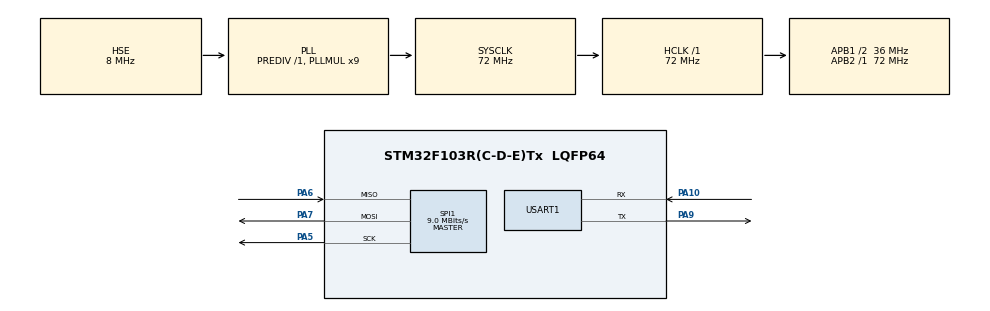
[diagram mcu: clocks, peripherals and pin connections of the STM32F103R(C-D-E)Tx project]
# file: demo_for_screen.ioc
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Mcu.Family=STM32F1
Mcu.Name=STM32F103R(C-D-E)Tx
Mcu.Package=LQFP64
NVIC.PriorityGroup=NVIC_PRIORITYGROUP_2
NVIC.TIM2_IRQn=true\:1\:0\:true\:false\:true\:true\:true\:true
NVIC.TIM3_IRQn=true\:1\:0\:true\:false\:true\:true\:true\:true
NVIC.USART1_IRQn=true\:0\:0\:false\:false\:true\:true\:true\:true
PA10.Mode=Asynchronous
PA10.Signal=USART1_RX
PA13.Mode=Serial_Wire
PA13.Signal=SYS_JTMS-SWDIO
PA14.Mode=Serial_Wire
PA14.Signal=SYS_JTCK-SWCLK
PA5.Mode=Full_Duplex_Master
PA5.Signal=SPI1_SCK
PA6.Mode=Full_Duplex_Master
PA6.Signal=SPI1_MISO
PA7.Mode=Full_Duplex_Master
PA7.Signal=SPI1_MOSI
PA9.Mode=Asynchronous
PA9.Signal=USART1_TX
PD0-OSC_IN.Mode=HSE-External-Oscillator
PD0-OSC_IN.Signal=RCC_OSC_IN
PD1-OSC_OUT.Mode=HSE-External-Oscillator
PD1-OSC_OUT.Signal=RCC_OSC_OUT
ProjectManager.HeapSize=0x200
ProjectManager.StackSize=0x400
ProjectManager.TargetToolchain=STM32CubeIDE
RCC.AHBFreq_Value=72000000
RCC.APB1CLKDivider=RCC_HCLK_DIV2
RCC.APB1Freq_Value=36000000
RCC.APB1TimFreq_Value=72000000
RCC.APB2Freq_Value=72000000
RCC.APB2TimFreq_Value=72000000
RCC.HCLKFreq_Value=72000000
RCC.PLLMUL=RCC_PLL_MUL9
RCC.PLLSourceVirtual=RCC_PLLSOURCE_HSE
RCC.SYSCLKFreq_VALUE=72000000
RCC.SYSCLKSource=RCC_SYSCLKSOURCE_PLLCLK
RCC.USBFreq_Value=72000000
SPI1.BaudRatePrescaler=SPI_BAUDRATEPRESCALER_8
SPI1.CalculateBaudRate=9.0 MBits/s
SPI1.Direction=SPI_DIRECTION_2LINES
SPI1.Mode=SPI_MODE_MASTER
SPI1.VirtualType=VM_MASTER
TIM2.Period=29999
TIM2.Prescaler=7199
TIM3.Period=49999
TIM3.Prescaler=7199
USART1.VirtualMode=VM_ASYNC
VP_TIM2_VS_ClockSourceINT.Mode=Internal
VP_TIM3_VS_ClockSourceINT.Mode=Internal
board=custom

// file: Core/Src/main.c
/* USER CODE BEGIN Header */
/**
  ******************************************************************************
  * @file           : main.c
  * @brief          : Main program body
  ******************************************************************************
  * @attention
  *
  * Copyright (c) 2022 STMicroelectronics.
  * All rights reserved.
  *
  * This software is licensed under terms that can be found in the LICENSE file
  * in the root directory of this software component.
  * If no LICENSE file comes with this software, it is provided AS-IS.
  *
  ******************************************************************************
  */
/* USER CODE END Header */
#include "main.h"

/* USER CODE BEGIN Includes */

/* Private includes ----------------------------------------------------------*/
/* USER CODE BEGIN Includes */
#include "sys.h"
#include "delay.h"
//#include "usart.h"
#include "led.h"
#include "key.h"
#include "lcd.h"
//#include "usmart.h"
#include "touch.h"
#include "24cxx.h"
#include "24l01.h" //通信驱动 基于spi进行通信
#include "string.h"
#include "roll_display.h"
//#include "remote.h" 红外遥控驱动
/* USER CODE END Includes */

/* USER CODE BEGIN PD */
#define MES_SIZE	10
unsigned char DATA_TO_SEND[800];
int state_num = 0;
volatile int hp=30;
volatile int mode1=0;
u8 STATE[30];

extern uint8_t rxBuffer[20];
UART_HandleTypeDef huart1;
/* USER CODE END PD */

/* USER CODE BEGIN PM */
//清空屏幕并在右上角显�??"RST"
void Load_Drow_Dialog(void)
{
	LCD_Clear(WHITE);//清屏
 	POINT_COLOR=BLUE;//设置字体为蓝�??
	//LCD_ShowString(lcddev.width-24,0,200,16,16,"RST");//显示清屏区域
  	POINT_COLOR=RED;//设置画笔蓝色
}
////////////////////////////////////////////////////////////////////////////////
//电容触摸屏专有部�??
//画水平线
//x0,y0:坐标
//len:线长�??
//color:颜色
void gui_draw_hline(u16 x0,u16 y0,u16 len,u16 color)
{
	if(len==0)return;
	LCD_Fill(x0,y0,x0+len-1,y0,color);
}
//画实心圆
//x0,y0:坐标
//r:半径
//color:颜色
void gui_fill_circle(u16 x0,u16 y0,u16 r,u16 color)
{
	u32 i;
	u32 imax = ((u32)r*707)/1000+1;
	u32 sqmax = (u32)r*(u32)r+(u32)r/2;
	u32 x=r;
	gui_draw_hline(x0-r,y0,2*r,color);
	for (i=1;i<=imax;i++)
	{
		if ((i*i+x*x)>sqmax)// draw lines from outside
		{
 			if (x>imax)
			{
				gui_draw_hline (x0-i+1,y0+x,2*(i-1),color);
				gui_draw_hline (x0-i+1,y0-x,2*(i-1),color);
			}
			x--;
		}
		// draw lines from inside (center)
		gui_draw_hline(x0-x,y0+i,2*x,color);
		gui_draw_hline(x0-x,y0-i,2*x,color);
	}
}
//两个数之差的绝对�??
//x1,x2：需取差值的两个�??
//返回值：|x1-x2|
u16 my_abs(u16 x1,u16 x2)
{
	if(x1>x2)return x1-x2;
	else return x2-x1;
}
//画一条粗�??
//(x1,y1),(x2,y2):线条的起始坐�??
//size：线条的粗细程度
//color：线条的颜色

void screen_print(){
	LCD_Clear(WHITE);//清屏
	POINT_COLOR=BLUE;//设置字体为蓝�?
	//LCD_ShowString(lcddev.width-24,0,200,16,16,"RST");//显示清屏区域
	LCD_ShowString(0,0,80,24,24, "Feed");
	LCD_ShowString(100,0,180,24,24, "Ignore");
	if (hp==30) LCD_ShowString(60,60,180,24,24, "HP: 30");
			else if (hp==29) LCD_ShowString(60,60,180,24,24, "HP: 29");
			else if (hp==28) LCD_ShowString(60,60,180,24,24, "HP: 28");
			else if (hp==27) LCD_ShowString(60,60,180,24,24, "HP: 27");
			else if (hp==26) LCD_ShowString(60,60,180,24,24, "HP: 26");
			else if (hp==25) LCD_ShowString(60,60,180,24,24, "HP: 25");
			else if (hp==24) LCD_ShowString(60,60,180,24,24, "HP: 24");
			else if (hp==23)	LCD_ShowString(60,60,180,24,24, "HP: 23");
			else if (hp==22)	LCD_ShowString(60,60,180,24,24, "HP: 22");
			else if (hp==21)	LCD_ShowString(60,60,180,24,24, "HP: 21");
			else if (hp==20) LCD_ShowString(60,60,180,24,24, "HP: 20");
			else if (hp==19) LCD_ShowString(60,60,180,24,24, "HP: 19");
				else if (hp==18) LCD_ShowString(60,60,180,24,24, "HP: 18");
				else if (hp==17) LCD_ShowString(60,60,180,24,24, "HP: 17");
				else if (hp==16) LCD_ShowString(60,60,180,24,24, "HP: 16");
				else if (hp==15) LCD_ShowString(60,60,180,24,24, "HP: 15");
				else if (hp==14) LCD_ShowString(60,60,180,24,24, "HP: 14");
				else if (hp==13)	LCD_ShowString(60,60,180,24,24, "HP: 13");
				else if (hp==12)	LCD_ShowString(60,60,180,24,24, "HP: 12");
				else if (hp==11)	LCD_ShowString(60,60,180,24,24, "HP: 11");
			else if (hp==10) LCD_ShowString(60,60,180,24,24, "HP: 10");
			else if (hp==9) LCD_ShowString(60,60,180,24,24, "HP: 09");
				else if (hp==8) LCD_ShowString(60,60,180,24,24, "HP: 08");
				else if (hp==7) LCD_ShowString(60,60,180,24,24, "HP: 07");
				else if (hp==6) LCD_ShowString(60,60,180,24,24, "HP: 06");
				else if (hp==5) LCD_ShowString(60,60,180,24,24, "HP: 05");
				else if (hp==4) LCD_ShowString(60,60,180,24,24, "HP: 04");
				else if (hp==3)	LCD_ShowString(60,60,180,24,24, "HP: 03");
				else if (hp==2)	LCD_ShowString(60,60,180,24,24, "HP: 02");
				else if (hp==1)	LCD_ShowString(60,60,180,24,24, "HP: 01");
			else if (hp==0)   LCD_ShowString(60,60,180,24,24, "HP: 00");
	LCD_ShowxNum(160,60,hp,24,24,1);
	//LCD_ShowString(60,120,200,24,24, "Change Light");
	LCD_ShowString(0,280,230,304,24, "                  ");
	LCD_ShowString(0, lcddev.height-24, 200, 16, 16, STATE);
	POINT_COLOR=RED;//设置画笔为红�?

}

void screen_norm_print(){
//	LCD_Clear(WHITE);//清屏
	POINT_COLOR=BLUE;//设置字体为蓝�?
	//LCD_ShowString(lcddev.width-24,0,200,16,16,"RST");//显示清屏区域
	LCD_ShowString(0,0,80,24,24, "Feed");
	LCD_ShowString(100,0,180,24,24, "Ignore");
	if (hp==30) LCD_ShowString(60,60,180,24,24, "HP: 30");
	else if (hp==29) LCD_ShowString(60,60,180,24,24, "HP: 29");
	else if (hp==28) LCD_ShowString(60,60,180,24,24, "HP: 28");
	else if (hp==27) LCD_ShowString(60,60,180,24,24, "HP: 27");
	else if (hp==26) LCD_ShowString(60,60,180,24,24, "HP: 26");
	else if (hp==25) LCD_ShowString(60,60,180,24,24, "HP: 25");
	else if (hp==24) LCD_ShowString(60,60,180,24,24, "HP: 24");
	else if (hp==23)	LCD_ShowString(60,60,180,24,24, "HP: 23");
	else if (hp==22)	LCD_ShowString(60,60,180,24,24, "HP: 22");
	else if (hp==21)	LCD_ShowString(60,60,180,24,24, "HP: 21");
	else if (hp==20) LCD_ShowString(60,60,180,24,24, "HP: 20");
	else if (hp==19) LCD_ShowString(60,60,180,24,24, "HP: 19");
		else if (hp==18) LCD_ShowString(60,60,180,24,24, "HP: 18");
		else if (hp==17) LCD_ShowString(60,60,180,24,24, "HP: 17");
		else if (hp==16) LCD_ShowString(60,60,180,24,24, "HP: 16");
		else if (hp==15) LCD_ShowString(60,60,180,24,24, "HP: 15");
		else if (hp==14) LCD_ShowString(60,60,180,24,24, "HP: 14");
		else if (hp==13)	LCD_ShowString(60,60,180,24,24, "HP: 13");
		else if (hp==12)	LCD_ShowString(60,60,180,24,24, "HP: 12");
		else if (hp==11)	LCD_ShowString(60,60,180,24,24, "HP: 11");
	else if (hp==10) LCD_ShowString(60,60,180,24,24, "HP: 10");
	else if (hp==9) LCD_ShowString(60,60,180,24,24, "HP: 09");
		else if (hp==8) LCD_ShowString(60,60,180,24,24, "HP: 08");
		else if (hp==7) LCD_ShowString(60,60,180,24,24, "HP: 07");
		else if (hp==6) LCD_ShowString(60,60,180,24,24, "HP: 06");
		else if (hp==5) LCD_ShowString(60,60,180,24,24, "HP: 05");
		else if (hp==4) LCD_ShowString(60,60,180,24,24, "HP: 04");
		else if (hp==3)	LCD_ShowString(60,60,180,24,24, "HP: 03");
		else if (hp==2)	LCD_ShowString(60,60,180,24,24, "HP: 02");
		else if (hp==1)	LCD_ShowString(60,60,180,24,24, "HP: 01");
	else if (hp==0)   LCD_ShowString(60,60,180,24,24, "HP: 00");
	//LCD_ShowString(60,120,200,24,24, "Change Light");
	LCD_ShowString(0,280,230,304,24, "                  ");
	LCD_ShowString(0, lcddev.height-24, 200, 16, 16, STATE);
	POINT_COLOR=RED;//设置画笔为红�?

}

void screen_ignore_print(){
//	LCD_Clear(WHITE);//清屏
	POINT_COLOR=BLUE;//设置字体为蓝�?
	//LCD_ShowString(lcddev.width-24,0,200,16,16,"RST");//显示清屏区域
	LCD_ShowString(0,0,80,24,24, "Feed");
	LCD_ShowString(100,0,180,24,24, "Ignore");
	if (hp==30) LCD_ShowString(60,60,180,24,24, "HP: 30");
		else if (hp==29) LCD_ShowString(60,60,180,24,24, "HP: 29");
		else if (hp==28) LCD_ShowString(60,60,180,24,24, "HP: 28");
		else if (hp==27) LCD_ShowString(60,60,180,24,24, "HP: 27");
		else if (hp==26) LCD_ShowString(60,60,180,24,24, "HP: 26");
		else if (hp==25) LCD_ShowString(60,60,180,24,24, "HP: 25");
		else if (hp==24) LCD_ShowString(60,60,180,24,24, "HP: 24");
		else if (hp==23)	LCD_ShowString(60,60,180,24,24, "HP: 23");
		else if (hp==22)	LCD_ShowString(60,60,180,24,24, "HP: 22");
		else if (hp==21)	LCD_ShowString(60,60,180,24,24, "HP: 21");
		else if (hp==20) LCD_ShowString(60,60,180,24,24, "HP: 20");
		else if (hp==19) LCD_ShowString(60,60,180,24,24, "HP: 19");
			else if (hp==18) LCD_ShowString(60,60,180,24,24, "HP: 18");
			else if (hp==17) LCD_ShowString(60,60,180,24,24, "HP: 17");
			else if (hp==16) LCD_ShowString(60,60,180,24,24, "HP: 16");
			else if (hp==15) LCD_ShowString(60,60,180,24,24, "HP: 15");
			else if (hp==14) LCD_ShowString(60,60,180,24,24, "HP: 14");
			else if (hp==13)	LCD_ShowString(60,60,180,24,24, "HP: 13");
			else if (hp==12)	LCD_ShowString(60,60,180,24,24, "HP: 12");
			else if (hp==11)	LCD_ShowString(60,60,180,24,24, "HP: 11");
		else if (hp==10) LCD_ShowString(60,60,180,24,24, "HP: 10");
		else if (hp==9) LCD_ShowString(60,60,180,24,24, "HP: 09");
			else if (hp==8) LCD_ShowString(60,60,180,24,24, "HP: 08");
			else if (hp==7) LCD_ShowString(60,60,180,24,24, "HP: 07");
			else if (hp==6) LCD_ShowString(60,60,180,24,24, "HP: 06");
			else if (hp==5) LCD_ShowString(60,60,180,24,24, "HP: 05");
			else if (hp==4) LCD_ShowString(60,60,180,24,24, "HP: 04");
			else if (hp==3)	LCD_ShowString(60,60,180,24,24, "HP: 03");
			else if (hp==2)	LCD_ShowString(60,60,180,24,24, "HP: 02");
			else if (hp==1)	LCD_ShowString(60,60,180,24,24, "HP: 01");
		else if (hp==0)   LCD_ShowString(60,60,180,24,24, "HP: 00");
	//LCD_ShowString(60,120,200,24,24, "Change Light");
	LCD_ShowString(0,280,230,304,24, "Ignore the request");
	LCD_ShowString(0, lcddev.height-24, 200, 16, 16, STATE);
	POINT_COLOR=RED;//设置画笔为红�?

}
void change_state(){
	if(state_num == 0){
		state_num = 1;
		sprintf(STATE, "STATE: ON ");
	}else{
		state_num = 0;
		sprintf(STATE, "STATE: OFF");
	}
}

void lcd_draw_bline(u16 x1, u16 y1, u16 x2, u16 y2,u8 size,u16 color)
{
	u16 t;
	int xerr=0,yerr=0,delta_x,delta_y,distance;
	int incx,incy,uRow,uCol;
	if(x1<size|| x2<size||y1<size|| y2<size)return;
	delta_x=x2-x1; //计算坐标增量
	delta_y=y2-y1;
	uRow=x1;
	uCol=y1;
	if(delta_x>0)incx=1; //设置单步方向
	else if(delta_x==0)incx=0;//垂直�??
	else {incx=-1;delta_x=-delta_x;}
	if(delta_y>0)incy=1;
	else if(delta_y==0)incy=0;//水平�??
	else{incy=-1;delta_y=-delta_y;}
	if( delta_x>delta_y)distance=delta_x; //选取基本增量坐标�??
	else distance=delta_y;
	for(t=0;t<=distance+1;t++ )//画线输出
	{
		gui_fill_circle(uRow,uCol,size,color);//画点
		xerr+=delta_x ;
		yerr+=delta_y ;
		if(xerr>distance)
		{
			xerr-=distance;
			uRow+=incx;
		}
		if(yerr>distance)
		{
			yerr-=distance;
			uCol+=incy;
		}
	}
}
////////////////////////////////////////////////////////////////////////////////
//5个触控点的颜�??(电容触摸屏用)
const u16 POINT_COLOR_TBL[5]={RED,GREEN,BLUE,BROWN,GRED};
//电阻触摸屏测试函�??

/* USER CODE END PM */

SPI_HandleTypeDef hspi1;

TIM_HandleTypeDef htim2;
TIM_HandleTypeDef htim3;

UART_HandleTypeDef huart1;

void SystemClock_Config(void);
static void MX_GPIO_Init(void);
static void MX_SPI1_Init(void);
static void MX_USART1_UART_Init(void);
static void MX_TIM2_Init(void);
static void MX_TIM3_Init(void);

/* USER CODE BEGIN 0 */
_ttywrch(int ch)        //为了避免malloc的定义错误  半主机错误
{
}

uint8_t n,line=50;     //line 第几行;s
/* USER CODE END 0 */

int main(void)
{

  /* MCU Configuration--------------------------------------------------------*/

  /* Reset of all peripherals, Initializes the Flash interface and the Systick. */
  HAL_Init();

  /* USER CODE BEGIN Init */
  Stm32_Clock_Init(RCC_PLL_MUL9);   	//设置时钟,72M
	delay_init(72);               		//初始化延时函�??
//	uart_init(115200);					//初始化串�??
//	usmart_dev.init(84); 		  	  	//初始化USMART
	LED_Init();							//初始化LED
	KEY_Init();							//初始化按�??
	LCD_Init();							//初始化LCD
	tp_dev.init();				   		//触摸屏初始化
  /* USER CODE END Init */

  /* Configure the system clock */
  SystemClock_Config();

  /* Initialize all configured peripherals */
  MX_GPIO_Init();
  MX_SPI1_Init();
  MX_USART1_UART_Init();
  MX_TIM2_Init();
  MX_TIM3_Init();
  /* USER CODE BEGIN 2 */
  POINT_COLOR=RED;
  	LCD_ShowString(30,50,200,16,16,"Mini STM32");
  	LCD_ShowString(30,70,200,16,16,"TOUCH TEST");
  	LCD_ShowString(30,90,200,16,16,"ATOM@ALIENTEK");
  	LCD_ShowString(30,110,200,16,16,"2019/11/15");
     	if(tp_dev.touchtype!=0XFF)
  	{
  		LCD_ShowString(30,130,200,16,16,"Press KEY0 to Adjust");//电阻屏才显示
  	}
  	delay_ms(1500);
   	Load_Drow_Dialog();
    //HAL_TIM_Base_Start_IT(&htim3);
  	//if(tp_dev.touchtype&0X80)ctp_test();//电容�?
  	//else
   	HAL_UART_Receive_IT(&huart1,(uint8_t *)rxBuffer,1);

   	rtp_test(); //电阻�?
  /* USER CODE END 2 */

  /* Infinite loop */

}

void SystemClock_Config(void)
{
  RCC_OscInitTypeDef RCC_OscInitStruct = {0};
  RCC_ClkInitTypeDef RCC_ClkInitStruct = {0};

  /** Initializes the RCC Oscillators according to the specified parameters
  * in the RCC_OscInitTypeDef structure.
  */
  RCC_OscInitStruct.OscillatorType = RCC_OSCILLATORTYPE_HSE;
  RCC_OscInitStruct.HSEState = RCC_HSE_ON;
  RCC_OscInitStruct.HSEPredivValue = RCC_HSE_PREDIV_DIV1;
  RCC_OscInitStruct.HSIState = RCC_HSI_ON;
  RCC_OscInitStruct.PLL.PLLState = RCC_PLL_ON;
  RCC_OscInitStruct.PLL.PLLSource = RCC_PLLSOURCE_HSE;
  RCC_OscInitStruct.PLL.PLLMUL = RCC_PLL_MUL9;
  if (HAL_RCC_OscConfig(&RCC_OscInitStruct) != HAL_OK)
  {
    Error_Handler();
  }

  /** Initializes the CPU, AHB and APB buses clocks
  */
  RCC_ClkInitStruct.ClockType = RCC_CLOCKTYPE_HCLK|RCC_CLOCKTYPE_SYSCLK
                              |RCC_CLOCKTYPE_PCLK1|RCC_CLOCKTYPE_PCLK2;
  RCC_ClkInitStruct.SYSCLKSource = RCC_SYSCLKSOURCE_PLLCLK;
  RCC_ClkInitStruct.AHBCLKDivider = RCC_SYSCLK_DIV1;
  RCC_ClkInitStruct.APB1CLKDivider = RCC_HCLK_DIV2;
  RCC_ClkInitStruct.APB2CLKDivider = RCC_HCLK_DIV1;

  if (HAL_RCC_ClockConfig(&RCC_ClkInitStruct, FLASH_LATENCY_2) != HAL_OK)
  {
    Error_Handler();
  }
}

static void MX_SPI1_Init(void)
{

  /* SPI1 parameter configuration*/
  hspi1.Instance = SPI1;
  hspi1.Init.Mode = SPI_MODE_MASTER;
  hspi1.Init.Direction = SPI_DIRECTION_2LINES;
  hspi1.Init.DataSize = SPI_DATASIZE_8BIT;
  hspi1.Init.CLKPolarity = SPI_POLARITY_LOW;
  hspi1.Init.CLKPhase = SPI_PHASE_1EDGE;
  hspi1.Init.NSS = SPI_NSS_SOFT;
  hspi1.Init.BaudRatePrescaler = SPI_BAUDRATEPRESCALER_8;
  hspi1.Init.FirstBit = SPI_FIRSTBIT_MSB;
  hspi1.Init.TIMode = SPI_TIMODE_DISABLE;
  hspi1.Init.CRCCalculation = SPI_CRCCALCULATION_DISABLE;
  hspi1.Init.CRCPolynomial = 10;
  if (HAL_SPI_Init(&hspi1) != HAL_OK)
  {
    Error_Handler();
  }

}

static void MX_TIM2_Init(void)
{

  TIM_ClockConfigTypeDef sClockSourceConfig = {0};
  TIM_MasterConfigTypeDef sMasterConfig = {0};

  htim2.Instance = TIM2;
  htim2.Init.Prescaler = 7199;
  htim2.Init.CounterMode = TIM_COUNTERMODE_UP;
  htim2.Init.Period = 29999;
  htim2.Init.ClockDivision = TIM_CLOCKDIVISION_DIV1;
  htim2.Init.AutoReloadPreload = TIM_AUTORELOAD_PRELOAD_DISABLE;
  if (HAL_TIM_Base_Init(&htim2) != HAL_OK)
  {
    Error_Handler();
  }
  sClockSourceConfig.ClockSource = TIM_CLOCKSOURCE_INTERNAL;
  if (HAL_TIM_ConfigClockSource(&htim2, &sClockSourceConfig) != HAL_OK)
  {
    Error_Handler();
  }
  sMasterConfig.MasterOutputTrigger = TIM_TRGO_RESET;
  sMasterConfig.MasterSlaveMode = TIM_MASTERSLAVEMODE_DISABLE;
  if (HAL_TIMEx_MasterConfigSynchronization(&htim2, &sMasterConfig) != HAL_OK)
  {
    Error_Handler();
  }

}

static void MX_TIM3_Init(void)
{

  TIM_ClockConfigTypeDef sClockSourceConfig = {0};
  TIM_MasterConfigTypeDef sMasterConfig = {0};

  htim3.Instance = TIM3;
  htim3.Init.Prescaler = 7199;
  htim3.Init.CounterMode = TIM_COUNTERMODE_UP;
  htim3.Init.Period = 49999;
  htim3.Init.ClockDivision = TIM_CLOCKDIVISION_DIV1;
  htim3.Init.AutoReloadPreload = TIM_AUTORELOAD_PRELOAD_DISABLE;
  if (HAL_TIM_Base_Init(&htim3) != HAL_OK)
  {
    Error_Handler();
  }
  sClockSourceConfig.ClockSource = TIM_CLOCKSOURCE_INTERNAL;
  if (HAL_TIM_ConfigClockSource(&htim3, &sClockSourceConfig) != HAL_OK)
  {
    Error_Handler();
  }
  sMasterConfig.MasterOutputTrigger = TIM_TRGO_RESET;
  sMasterConfig.MasterSlaveMode = TIM_MASTERSLAVEMODE_DISABLE;
  if (HAL_TIMEx_MasterConfigSynchronization(&htim3, &sMasterConfig) != HAL_OK)
  {
    Error_Handler();
  }

}

static void MX_USART1_UART_Init(void)
{

  huart1.Instance = USART1;
  huart1.Init.BaudRate = 115200;
  huart1.Init.WordLength = UART_WORDLENGTH_8B;
  huart1.Init.StopBits = UART_STOPBITS_1;
  huart1.Init.Parity = UART_PARITY_NONE;
  huart1.Init.Mode = UART_MODE_TX_RX;
  huart1.Init.HwFlowCtl = UART_HWCONTROL_NONE;
  huart1.Init.OverSampling = UART_OVERSAMPLING_16;
  if (HAL_UART_Init(&huart1) != HAL_OK)
  {
    Error_Handler();
  }

}

static void MX_GPIO_Init(void)
{

  /* GPIO Ports Clock Enable */
  __HAL_RCC_GPIOD_CLK_ENABLE();
  __HAL_RCC_GPIOA_CLK_ENABLE();

}

/* USER CODE BEGIN 4 */
void rtp_test(void)
{
	LCD_ShowImage2(80,80);
    int f=0;
    int check=0;
    int times=0;
	u8 key;
	u8 i=0;
	uint8_t len;
		Linkedlist *head = creatList(MES_SIZE-1); 		//创建一个有10个节点的链表
		Linkedlist *temp = closeList(head);				//闭合该链表,并返回末尾指针
		//LCD_ShowString(50,10,210,24,16,"Rolling Data:");
		//int USART_RX_STA=1;
	while(1)
	{

		if (mode1==0){
			f=0;
			check=0;
			 HAL_TIM_Base_Stop_IT(&htim2);
			__HAL_TIM_SetCounter(&htim2, 0);
		  HAL_TIM_Base_Start_IT(&htim3);
		//LCD_ShowImage2(40,80);
		LCD_ShowString(40,250,180,294,24, "I am hungry");
	 	key=KEY_Scan(0);
		tp_dev.scan(0);
		screen_norm_print();
		if(tp_dev.sta&TP_PRES_DOWN)			//触摸屏被按下
		{
		 	if(tp_dev.x[0]<lcddev.width&&tp_dev.y[0]<lcddev.height)
			{
				if(tp_dev.x[0]>(lcddev.width-24)&&tp_dev.y[0]<16){
					 HAL_TIM_Base_Stop_IT(&htim3);
					 hp=30;
					 __HAL_TIM_SetCounter(&htim3, 0);
					 HAL_TIM_Base_Start_IT(&htim3);
					screen_print();//清除
					LCD_ShowImage2(80,80);
					times=0;
				}
				else if(tp_dev.x[0]<80&&tp_dev.y[0]<24){
					change_state();
					 HAL_TIM_Base_Stop_IT(&htim3);
					__HAL_TIM_SetCounter(&htim3, 0);
                          mode1=2;
				}
				else if (tp_dev.x[0]>100&&tp_dev.y[0]>0&&tp_dev.x[0]<180&&tp_dev.y[0]<24){
					change_state();
					if (hp>10){
						hp=hp-10;mode1=1;
					}
					else{
						hp=0; mode1=3;
					}

				}
				else if(tp_dev.x[0]>60&&tp_dev.y[0]>60&&tp_dev.x[0]<180&&tp_dev.y[0]<100){
					sprintf(DATA_TO_SEND, "SEND DATA");
					HAL_UART_Transmit(&huart1, (uint8_t*)DATA_TO_SEND, strlen(DATA_TO_SEND), HAL_MAX_DELAY);
				}
				//else if(tp_dev.x[0]>60&&tp_dev.y[0]>120&&tp_dev.x[0]<180&&tp_dev.y[0]<160){
				//	HAL_GPIO_TogglePin(GPIOD, GPIO_PIN_2);

				//}
				else if(tp_dev.x[0]>0&&tp_dev.y[0]>lcddev.height-24&&tp_dev.x[0]<80&&tp_dev.y[0]<lcddev.height){
					change_state();
				}
				else {
					//TP_Draw_Big_Point(tp_dev.x[0],tp_dev.y[0],RED);//画图
				}
			}
		}else delay_ms(10);	//没有按键按下的时�??
		if(key==KEY0_PRES)	//KEY0按下,则执行校准程�??
		{
			LCD_Clear(WHITE);	//清屏
		    TP_Adjust();  		//屏幕校准
			TP_Save_Adjdata();
			Load_Drow_Dialog();
		}
		i++;
		if(i%20==0)LED0=!LED0;
		}
		else if (mode1==1||mode1==2||mode1==4){
			LCD_ShowString(40,250,180,294,24, "           ");
			key=KEY_Scan(0);
				tp_dev.scan(0);
				if (mode1==2||mode1==4) screen_norm_print();
				else if (mode1==1) screen_ignore_print();
				 HAL_TIM_Base_Stop_IT(&htim3);
				__HAL_TIM_SetCounter(&htim3, 0);
				 HAL_TIM_Base_Start_IT(&htim2);
				if(tp_dev.sta&TP_PRES_DOWN)			//触摸屏被按下
				{
				 	if(tp_dev.x[0]<lcddev.width&&tp_dev.y[0]<lcddev.height)
					{
						if(tp_dev.x[0]>(lcddev.width-24)&&tp_dev.y[0]<16){
							 HAL_TIM_Base_Stop_IT(&htim3);
							 hp=30;
							 __HAL_TIM_SetCounter(&htim3, 0);
							 HAL_TIM_Base_Start_IT(&htim3);
							screen_print();//清除
							LCD_ShowImage2(80,80);
							times=0;
						}
						else if(tp_dev.x[0]<80&&tp_dev.y[0]<24){
							change_state();
							 HAL_TIM_Base_Stop_IT(&htim3);
							__HAL_TIM_SetCounter(&htim3, 0);
		                          mode1=2;
						}
						else if (tp_dev.x[0]>100&&tp_dev.y[0]>0&&tp_dev.x[0]<180&&tp_dev.y[0]<24){
							change_state();
		                          mode1=1;
						}
						else if(tp_dev.x[0]>60&&tp_dev.y[0]>60&&tp_dev.x[0]<180&&tp_dev.y[0]<100){
							sprintf(DATA_TO_SEND, "SEND DATA");
							HAL_UART_Transmit(&huart1, (uint8_t*)DATA_TO_SEND, strlen(DATA_TO_SEND), HAL_MAX_DELAY);
						}
						//else if(tp_dev.x[0]>60&&tp_dev.y[0]>120&&tp_dev.x[0]<180&&tp_dev.y[0]<160){
						//	HAL_GPIO_TogglePin(GPIOD, GPIO_PIN_2);

						//}
						else if(tp_dev.x[0]>0&&tp_dev.y[0]>lcddev.height-24&&tp_dev.x[0]<80&&tp_dev.y[0]<lcddev.height){
							change_state();
						}
						else {
							//TP_Draw_Big_Point(tp_dev.x[0],tp_dev.y[0],RED);//画图
						}
					}
				}else delay_ms(10);	//没有按键按下的时�??
				if(key==KEY0_PRES)	//KEY0按下,则执行校准程�??
				{
					LCD_Clear(WHITE);	//清屏
				    TP_Adjust();  		//屏幕校准
					TP_Save_Adjdata();
					Load_Drow_Dialog();
				}
				i++;
				if(i%20==0)LED0=!LED0;

				if (f==0){
					f=1;//len = USART_RX_STA&0x3FFF;
					//LCD_Fill(20,line,240,246,WHITE);       //对动态显示行清除显示
                    if (mode1==2) times++;
					//memcpy(temp->Data,USART_RX_BUF,len);	//将数据写入循环链表的末尾
                    int j;
                    char str1[]="Total fed ";
                    char str2[]=". YES   ";
                    char str3[]=". NO    ";
                    char add[]="new";
        			char fin[]="friend";
        			int k=times,len=0,ll=0;
        			unsigned char uRx_Data[1024];
        			while(k!=0){
        				add[len]=k%10+48;
        				len++;
        				k=k/10;
        				//Time limit changed: ? seconds.\r\n";
        			}
        			for (j=0;j<len;j++){
        							fin[j]=add[len-1-j];
        						}
        			for( j=0;str1[j];j++ ){
						ll++;
						uRx_Data[j]=str1[j];
					}
        			if (times<10) {
        				uRx_Data[ll]=' ';
        			    ll++;
        			}
        			if (times==0){
        				uRx_Data[ll]='0';
        				ll++;
        			}
        			else {
        				for (j=0;j<len;j++){
        					uRx_Data[ll]=fin[j];
						ll++;
						}
        			}

        			if (mode1==2){
        				for( j=0;str2[j];j++ ){
						uRx_Data[ll]=str2[j];
						ll++;
					}
                  }

        			else if (mode1==1||mode1==4){
        				for( j=0;str3[j];j++ ){
        					uRx_Data[ll]=str3[j];
        				ll++;
        			}
        			}
				    memcpy(temp->Data,uRx_Data,ll);
        			//memcpy(temp->Data,"as",2);
					temp = temp->next;			//指向下一个指针,一个循环后变为头指针

					for (i=0;i<MES_SIZE;i++)			//遍历全部的链表节点
					{
						LCD_ShowString(0,line,240,12,12,temp->Data);    //每次对下一行显示
						temp = temp->next;				//回到起点指针
						line += 20;
					}
					line=50;                             //底行
					//USART_RX_STA=0;
					//memset(USART_RX_BUF,0,len);          //清除接收缓存

				}
		}
		else if (mode1==3){
			if (check==0){
			LCD_Clear(WHITE);
			check=1;}//清屏
			LCD_ShowImage2(40,80);
			if (hp==30) LCD_ShowString(60,60,180,24,24, "HP: 30");
					else if (hp==29) LCD_ShowString(60,60,180,24,24, "HP: 29");
					else if (hp==28) LCD_ShowString(60,60,180,24,24, "HP: 28");
					else if (hp==27) LCD_ShowString(60,60,180,24,24, "HP: 27");
					else if (hp==26) LCD_ShowString(60,60,180,24,24, "HP: 26");
					else if (hp==25) LCD_ShowString(60,60,180,24,24, "HP: 25");
					else if (hp==24) LCD_ShowString(60,60,180,24,24, "HP: 24");
					else if (hp==23)	LCD_ShowString(60,60,180,24,24, "HP: 23");
					else if (hp==22)	LCD_ShowString(60,60,180,24,24, "HP: 22");
					else if (hp==21)	LCD_ShowString(60,60,180,24,24, "HP: 21");
					else if (hp==20) LCD_ShowString(60,60,180,24,24, "HP: 20");
					else if (hp==19) LCD_ShowString(60,60,180,24,24, "HP: 19");
						else if (hp==18) LCD_ShowString(60,60,180,24,24, "HP: 18");
						else if (hp==17) LCD_ShowString(60,60,180,24,24, "HP: 17");
						else if (hp==16) LCD_ShowString(60,60,180,24,24, "HP: 16");
						else if (hp==15) LCD_ShowString(60,60,180,24,24, "HP: 15");
						else if (hp==14) LCD_ShowString(60,60,180,24,24, "HP: 14");
						else if (hp==13)	LCD_ShowString(60,60,180,24,24, "HP: 13");
						else if (hp==12)	LCD_ShowString(60,60,180,24,24, "HP: 12");
						else if (hp==11)	LCD_ShowString(60,60,180,24,24, "HP: 11");
					else if (hp==10) LCD_ShowString(60,60,180,24,24, "HP: 10");
					else if (hp==9) LCD_ShowString(60,60,180,24,24, "HP: 09");
						else if (hp==8) LCD_ShowString(60,60,180,24,24, "HP: 08");
						else if (hp==7) LCD_ShowString(60,60,180,24,24, "HP: 07");
						else if (hp==6) LCD_ShowString(60,60,180,24,24, "HP: 06");
						else if (hp==5) LCD_ShowString(60,60,180,24,24, "HP: 05");
						else if (hp==4) LCD_ShowString(60,60,180,24,24, "HP: 04");
						else if (hp==3)	LCD_ShowString(60,60,180,24,24, "HP: 03");
						else if (hp==2)	LCD_ShowString(60,60,180,24,24, "HP: 02");
						else if (hp==1)	LCD_ShowString(60,60,180,24,24, "HP: 01");
					else if (hp==0)   LCD_ShowString(60,60,180,24,24, "HP: 00");
			 LCD_ShowString(60,120,200,24,24, "Game Over!");
						key=KEY_Scan(0);
							tp_dev.scan(0);
							 HAL_TIM_Base_Stop_IT(&htim3);
							__HAL_TIM_SetCounter(&htim3, 0);
							 HAL_TIM_Base_Stop_IT(&htim2);
							__HAL_TIM_SetCounter(&htim2, 0);
							if(tp_dev.sta&TP_PRES_DOWN)			//触摸屏被按下
							{
							 	if(tp_dev.x[0]<lcddev.width&&tp_dev.y[0]<lcddev.height)
								{
									if(tp_dev.x[0]>(lcddev.width-24)&&tp_dev.y[0]<16){
										 HAL_TIM_Base_Stop_IT(&htim3);
										 hp=30;
										 __HAL_TIM_SetCounter(&htim3, 0);
										 HAL_TIM_Base_Start_IT(&htim3);
										screen_print();//清除
										LCD_ShowImage2(80,80);
										times=0;
										mode1=0;
									}

								}
							}else delay_ms(10);	//没有按键按下的时�??
							if(key==KEY0_PRES)	//KEY0按下,则执行校准程�??
							{
								LCD_Clear(WHITE);	//清屏
							    TP_Adjust();  		//屏幕校准
								TP_Save_Adjdata();
								Load_Drow_Dialog();
							}
							i++;
							if(i%20==0)LED0=!LED0;
		}

	}
}
//电容触摸屏测试函�??

/* USER CODE END 4 */

void Error_Handler(void)
{
  __disable_irq();
  while (1)
  {
  }
}
